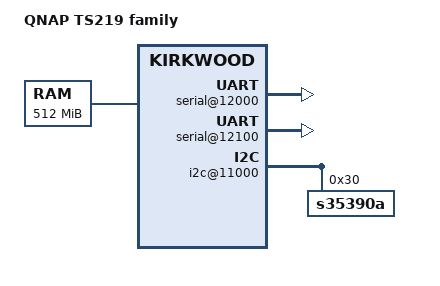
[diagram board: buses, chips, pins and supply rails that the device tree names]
/dts-v1/;

/include/ "kirkwood.dtsi"

/ {
	model = "QNAP TS219 family";
	compatible = "qnap,ts219", "mrvl,kirkwood-88f6281", "mrvl,kirkwood";

	memory {
		device_type = "memory";
		reg = <0x00000000 0x20000000>;
	};

	chosen {
		bootargs = "console=ttyS0,115200n8";
	};

	ocp@f1000000 {
		serial@12000 {
			clock-frequency = <200000000>;
			status = "ok";
		};
		serial@12100 {
			clock-frequency = <200000000>;
			status = "okay";
		};
	};

	i2c@11000 {
		status = "okay";
		#address-cells = <1>;
               	#size-cells = <0>;

		s35390a@30 {
			compatible = "s35390a";
			reg = <0x30>;
			status = "okay";
		};
	};
};
